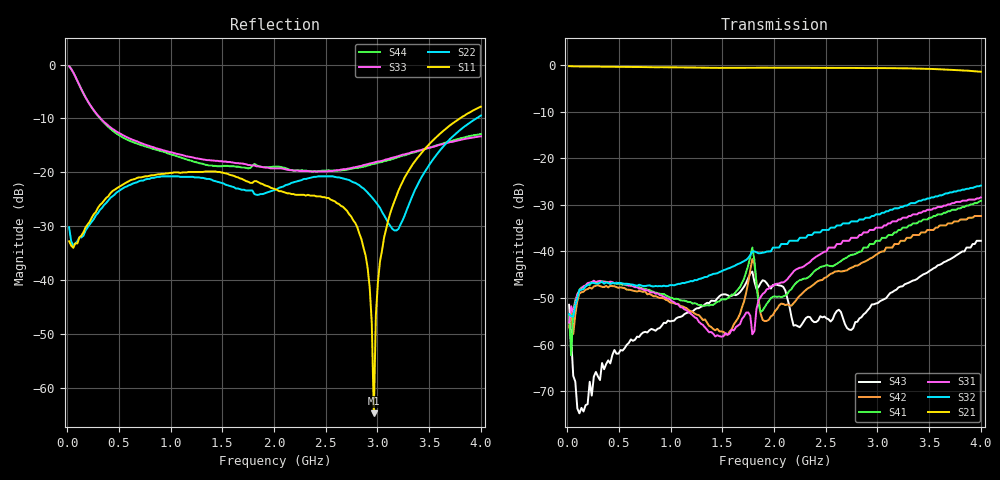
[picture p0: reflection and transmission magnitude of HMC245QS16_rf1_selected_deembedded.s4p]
!Hittite Microwave Corporation
!12 Elizabeth Drive
!Chelmsford, MA 01824
!Tel: 978-250-3343
!Fax: 978-250-3373
!Device: HMC245QS16, DC-3.5 GHz GaAs MMIC SP3T Non-Reflective Switch in 16 lead QSOP package
!Misc: Port 1 = RFC, Port 2 = RF1, Port 3 = RF2. Port 4 = RF3, RF1 Selected, Bias: +5VDC, DEEMBEDDED TO THE PINS OF THE DEVICE
# MHZ S MA R 50
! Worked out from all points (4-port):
!   201 points, 19.9 MHz to 4 GHz, reference 50 ohm
!   strongest paths, dB at 19.9 MHz, 1.015 GHz, 2.01 GHz, 3.005 GHz, 4 GHz:
!     S21: -0.2, -0.5, -0.6, -0.6, -1.4
!     S32: -53.5, -47.2, -39.2, -32.0, -25.8
!     S31: -55.3, -50.7, -47.1, -34.9, -28.4
!     S41: -53.9, -50.0, -49.7, -37.7, -29.1
!     S42: -56.3, -51.0, -52.8, -40.5, -32.4
!     S43: -51.5, -54.9, -47.1, -51.1, -37.7
!   lowest |S11| = -64.6 dB at 2.965 GHz (marker M1), VSWR 1.00, Z = 50 + j0.0547 ohm
!   |S11| at or under -10 dB: start of sweep to 3.796 GHz
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19.9  0.023 24.9  0.968 -2.2  0.001225 61.3  0.002122 -119.4
      0.973 -2.2  0.031 32.1  0.002698 -139.5  0.00169 171.8
      0.00172 171.0  0.002124 84.0  0.965 -12.1  0.0007323 109.6
      0.002023 131.2  0.001528 -126.4  0.002673 -80.0  0.964 -12.0
119.402  0.025 -36.5  0.963 -5.8  0.003908 40.4  0.003832 46.0
         0.966 -5.7  0.025 -31.1  0.003772 45.0  0.003311 43.3
         0.003754 42.3  0.003837 46.4  0.642 -52.7  5.461e-05 -81.2
         0.003878 45.9  0.003542 45.1  0.000183 -163.8  0.642 -52.9
2587.065  0.054 -61.1  0.93 -112.9  0.011 97.8  0.007083 61.1
          0.932 -112.9  0.091 -31.8  0.018 65.0  0.006044 77.2
          0.011 97.8  0.018 65.0  0.104 -22.8  0.002102 -41.0
          0.007148 60.4  0.006071 77.7  0.00212 -41.1  0.104 -41.8
2885.572  0.017 -63.3  0.927 -126.7  0.016 81.1  0.011 62.9
          0.93 -126.6  0.068 -23.9  0.023 59.0  0.0079 72.3
          0.016 81.4  0.023 59.3  0.118 0.4  0.002172 143.1
          0.011 62.6  0.007845 72.6  0.002193 145.9  0.114 -20.4
2965.174  0.0005857 69.0  0.926 -130.4  0.017 76.1  0.013 60.5
          0.929 -130.4  0.056 -19.1  0.024 58.0  0.008957 71.5
          0.017 76.1  0.024 58.1  0.123 5.6  0.002769 123.2
          0.012 60.7  0.008825 71.4  0.002705 124.0  0.12 -14.8
3144.279  0.048 105.1  0.924 -139.0  0.021 67.5  0.015 55.2
          0.926 -139.0  0.03 19.4  0.028 53.9  0.011 63.5
          0.021 67.5  0.028 53.9  0.137 15.5  0.003639 106.7
          0.015 55.4  0.011 63.9  0.003656 106.5  0.133 -6.3
4000  0.407 76.3  0.845 177.5  0.037 13.3  0.034 17.0
      0.848 177.6  0.336 85.0  0.051 22.0  0.024 15.3
      0.038 13.3  0.051 22.1  0.216 34.9  0.013 69.4
      0.035 17.0  0.024 15.8  0.013 69.8  0.227 8.0
